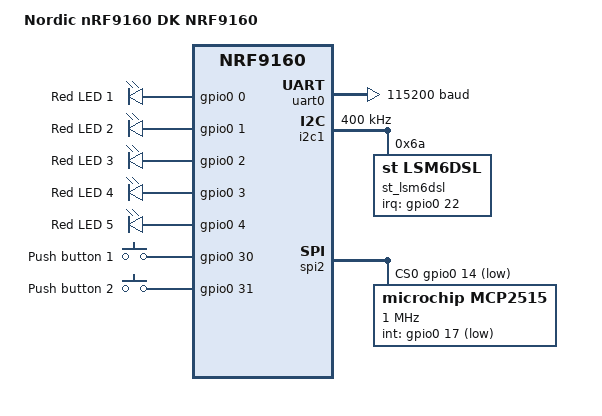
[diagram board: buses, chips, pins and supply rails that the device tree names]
/*
 * Copyright (c) 2018-2020 Nordic Semiconductor ASA
 *
 * SPDX-License-Identifier: Apache-2.0
 */
#include "datadriven_common-pinctrl.dtsi"

/ {
	model = "Nordic nRF9160 DK NRF9160";
	compatible = "nordic,nrf9160-dk-nrf9160";

	chosen {
		zephyr,console = &uart0;
		zephyr,shell-uart = &uart0;
		zephyr,uart-mcumgr = &uart0;
		zephyr,canbus = &mcp2515;
		zephyr,st_lsm6dsl = &st_lsm6dsl;
	};

	leds {
		compatible = "gpio-leds";
		led0: led_0 {
			gpios = <&gpio0 0 0>;
			label = "Red LED 1";
		};
		led1: led_1 {
			gpios = <&gpio0 1 0>;
			label = "Red LED 2";
		};
		led2: led_2 {
			gpios = <&gpio0 2 0>;
			label = "Red LED 3";
		};
		led3: led_3 {
			gpios = <&gpio0 3 0>;
			label = "Red LED 4";
		};
		led4: led_4 {
			gpios = <&gpio0 4 0>;
			label = "Red LED 5";
		};
	};

	buttons {
		compatible = "gpio-keys";
		button0: button_0 {
			gpios = <&gpio0 30 (GPIO_PULL_DOWN | GPIO_ACTIVE_HIGH)>;
			label = "Push button 1";
		};
		button1: button_1 {
			gpios = <&gpio0 31 (GPIO_PULL_DOWN | GPIO_ACTIVE_HIGH)>;
			label = "Push button 2";
		};
	};

	aliases {
		led0 = &led0;
		led1 = &led1;
		led2 = &led2;
		led3 = &led3;
		led4 = &led4;
		sw0 = &button0;
		sw1 = &button1;
		bootloader-led0 = &led0;
		mcuboot-button0 = &button0;
		mcuboot-led0 = &led0;
		watchdog0 = &wdt0;
	};
};

&gpiote {
	status = "okay";
};

&gpio0 {
	status = "okay";
};

&uart0 {
	status = "okay";
	current-speed = <115200>;
	pinctrl-0 = <&uart0_default>;
	pinctrl-1 = <&uart0_sleep>;
	pinctrl-names = "default", "sleep";
};

&i2c1 {
	compatible = "nordic,nrf-twim";
	status = "okay";
	pinctrl-0 = <&i2c1_default>;
	pinctrl-1 = <&i2c1_sleep>;
	pinctrl-names = "default", "sleep";
	clock-frequency = < I2C_BITRATE_FAST >;
	st_lsm6dsl: st_lsm6dsl@6a {
		compatible = "st,lsm6dsl";
		reg = <0x6a>;
		irq-gpios = <&gpio0 22 GPIO_ACTIVE_HIGH>;
	};
};

&spi2 {
	compatible = "nordic,nrf-spim";
	status = "okay";
	cs-gpios = <&gpio0 14 GPIO_ACTIVE_LOW>;
	pinctrl-0 = <&spi2_default>;
	pinctrl-1 = <&spi2_sleep>;
	pinctrl-names = "default", "sleep";

	mcp2515: can@0 {
		compatible = "microchip,mcp2515";
		spi-max-frequency = <1000000>;
		int-gpios = <&gpio0 17 GPIO_ACTIVE_LOW>;
		status = "okay";
		reg = <0x0>;
		osc-freq = <8000000>;
		bus-speed = <500000>;
		sjw = <1>;
		sample-point = <875>;

		can-transceiver {
			max-bitrate = <1000000>;
		};
	};
};

// &timer0 {
// 	status = "okay";
// };

// &timer1 {
// 	status = "okay";
// };

// &timer2 {
// 	status = "okay";
// };

&flash0 {

	partitions {
		compatible = "fixed-partitions";
		#address-cells = <1>;
		#size-cells = <1>;

		boot_partition: partition@0 {
			label = "mcuboot";
			reg = <0x00000000 0x10000>;
		};
		slot0_partition: partition@10000 {
			label = "image-0";
		};
		slot0_ns_partition: partition@50000 {
			label = "image-0-nonsecure";
		};
		slot1_partition: partition@80000 {
			label = "image-1";
		};
		slot1_ns_partition: partition@c0000 {
			label = "image-1-nonsecure";
		};
		scratch_partition: partition@f0000 {
			label = "image-scratch";
			reg = <0x000f0000 0xa000>;
		};
		storage_partition: partition@fa000 {
			label = "storage";
			reg = <0x000fa000 0x00006000>;
		};
	};
};

/ {

	reserved-memory {
		#address-cells = <1>;
		#size-cells = <1>;
		ranges;

		sram0_s: image_s@20000000 {
			/* Secure image memory */
		};

		sram0_modem: image_modem@20016000 {
			/* Modem (shared) memory */
		};

		sram0_ns: image_ns@20020000 {
			/* Non-Secure image memory */
		};
	};
};

/* Include partition configuration file */
#include "datadriven_partition_conf.dts"
